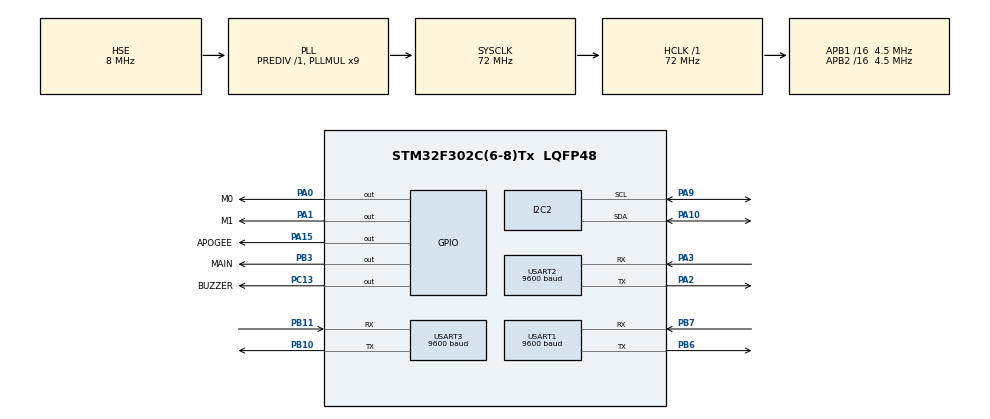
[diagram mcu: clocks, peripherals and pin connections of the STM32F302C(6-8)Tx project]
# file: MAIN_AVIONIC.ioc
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Dma.Request0=USART1_RX
Dma.USART1_RX.0.Direction=DMA_PERIPH_TO_MEMORY
Dma.USART1_RX.0.Instance=DMA1_Channel5
Dma.USART1_RX.0.MemDataAlignment=DMA_MDATAALIGN_BYTE
Dma.USART1_RX.0.MemInc=DMA_MINC_ENABLE
Dma.USART1_RX.0.Mode=DMA_CIRCULAR
Dma.USART1_RX.0.PeriphDataAlignment=DMA_PDATAALIGN_BYTE
Dma.USART1_RX.0.PeriphInc=DMA_PINC_DISABLE
Dma.USART1_RX.0.Priority=DMA_PRIORITY_LOW
Mcu.Family=STM32F3
Mcu.Name=STM32F302C(6-8)Tx
Mcu.Package=LQFP48
NVIC.DMA1_Channel5_IRQn=true\:0\:0\:false\:false\:true\:false\:true
NVIC.PriorityGroup=NVIC_PRIORITYGROUP_4
NVIC.TIM1_UP_TIM16_IRQn=true\:0\:0\:false\:false\:true\:true\:true
NVIC.TIM2_IRQn=true\:0\:0\:false\:false\:true\:true\:true
NVIC.TIM6_DAC_IRQn=true\:0\:0\:false\:false\:true\:true\:true
NVIC.USART1_IRQn=true\:0\:0\:false\:false\:true\:true\:true
PA0.GPIO_Label=M0
PA0.Signal=GPIO_Output
PA1.GPIO_Label=M1
PA1.Signal=GPIO_Output
PA10.Mode=I2C
PA10.Signal=I2C2_SDA
PA13.Mode=Serial_Wire
PA13.Signal=SYS_JTMS-SWDIO
PA14.Mode=Serial_Wire
PA14.Signal=SYS_JTCK-SWCLK
PA15.GPIO_Label=APOGEE
PA15.Signal=GPIO_Output
PA2.Mode=Asynchronous
PA2.Signal=USART2_TX
PA3.Mode=Asynchronous
PA3.Signal=USART2_RX
PA9.Mode=I2C
PA9.Signal=I2C2_SCL
PB10.Mode=Asynchronous
PB10.Signal=USART3_TX
PB11.Mode=Asynchronous
PB11.Signal=USART3_RX
PB3.GPIO_Label=MAIN
PB3.Signal=GPIO_Output
PB6.Mode=Asynchronous
PB6.Signal=USART1_TX
PB7.Mode=Asynchronous
PB7.Signal=USART1_RX
PC13.GPIO_Label=BUZZER
PC13.Signal=GPIO_Output
PF0-OSC_IN.Mode=HSE-External-Oscillator
PF0-OSC_IN.Signal=RCC_OSC_IN
PF1-OSC_OUT.Mode=HSE-External-Oscillator
PF1-OSC_OUT.Signal=RCC_OSC_OUT
ProjectManager.HeapSize=0x200
ProjectManager.StackSize=0x400
ProjectManager.TargetToolchain=STM32CubeIDE
RCC.AHBFreq_Value=72000000
RCC.APB1CLKDivider=RCC_HCLK_DIV16
RCC.APB1Freq_Value=4500000
RCC.APB1TimFreq_Value=9000000
RCC.APB2CLKDivider=RCC_HCLK_DIV16
RCC.APB2Freq_Value=4500000
RCC.APB2TimFreq_Value=9000000
RCC.CortexFreq_Value=72000000
RCC.HCLKFreq_Value=72000000
RCC.HSE_VALUE=8000000
RCC.HSI_VALUE=8000000
RCC.LSE_VALUE=32768
RCC.PLLMUL=RCC_PLL_MUL9
RCC.PLLSourceVirtual=RCC_PLLSOURCE_HSE
RCC.SYSCLKFreq_VALUE=72000000
RCC.SYSCLKSourceVirtual=RCC_SYSCLKSOURCE_PLLCLK
RCC.USBFreq_Value=72000000
TIM1.Prescaler=8999
TIM15.Prescaler=8999
TIM2.Period=999
TIM2.Prescaler=8999
TIM6.Period=6
TIM6.Prescaler=8999
USART1.BaudRate=9600
USART1.VirtualMode-Asynchronous=VM_ASYNC
USART2.BaudRate=9600
USART2.VirtualMode-Asynchronous=VM_ASYNC
USART3.BaudRate=9600
USART3.VirtualMode-Asynchronous=VM_ASYNC
VP_TIM15_VS_ClockSourceINT.Mode=Internal
VP_TIM1_VS_ClockSourceINT.Mode=Internal
VP_TIM2_VS_ClockSourceINT.Mode=Internal
VP_TIM6_VS_ClockSourceINT.Mode=Enable_Timer
board=custom

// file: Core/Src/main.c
/* USER CODE BEGIN Header */
/**
  ******************************************************************************
  * @file           : main.c
  * @brief          : Main program body
  ******************************************************************************
  * @attention
  *
  * <h2><center>&copy; Copyright (c) 2021 STMicroelectronics.
  * All rights reserved.</center></h2>
  *
  * This software component is licensed by ST under BSD 3-Clause license,
  * the "License"; You may not use this file except in compliance with the
  * License. You may obtain a copy of the License at:
  *                        opensource.org/licenses/BSD-3-Clause
  *
  ******************************************************************************
  */
/* USER CODE END Header */
#include "main.h"

/* USER CODE BEGIN Includes */
#include "BME280.h"
#include "MPU-6050.h"
#include "math.h"
#include "string.h"
#include "stdio.h"
#include <stdlib.h>
/* USER CODE END Includes */

/* USER CODE BEGIN PD */
#define t 200
#define PI 3.14159265358979323846
#define ACC_l 2.5  // kalkisi anlamak icin gerekli ivme eşigi (pozitif olmali)***

// değişebilir offset değerleri
#define gyroOffsetX -0.22
#define gyroOffsetY  1.11
#define gyroOffsetZ -5.64
#define acceOffsetX  0.38
#define acceOffsetY -1.93

float AcceX = .0, AcceY = .0, AcceZ = .0;
float GyroX = .0, GyroY = .0, GyroZ = .0;
float AcceAngleX = .0, AcceAngleY = .0, GyroAngleX = .0, GyroAngleY = .0, GyroAngleZ = .0;
float GyroBound = 3.0;
float roll = .0, pitch = .0;

float maxPositiveRoll = 0;
float maxNegativeRoll = -79.0;
float maxPositivePitch = 82.0;
float maxNegativePitch = -76.0;

uint32_t CurrentTime = 0, PreviousTime = 0;
float ElapsedTime = .0;

float calcoor(float x);
void LORA_READ_PARAMETER(void);
void LORA_CONFG(uint8_t ADDH, uint8_t ADDL, uint8_t CHN, uint8_t MODE);
void ReadGyroAcceValues(void);
void ReadAccerollpitchValues(void);

float A = 0, T, P, V;
float BM_V[6] = {0}, BM_A[6] = {0};
float MPU_ACC_Z[6] = {0}, roll, pitch, rollFilter, pitchFilter;
float lat;
float lng;

int tim1 = 0, tim2 = 0, dif = 0;
int time = 0;

uint8_t BM_S = 0;
uint8_t apogee = 0, alt_l = 0;
uint8_t MPU_FAIL = 0, MPU = 0, MPU_ACC_S = 0, BME = 0;
uint8_t GGA = 0;
uint8_t k = 0;
uint8_t v = 0;
uint8_t warning = 0;
uint8_t apg = 0;
uint8_t mn = 0;
uint8_t MPU_RP = 0;
uint8_t counter_Tel = 0;
extern uint8_t gyro;

uint8_t runningSize = 5;
float gyroArrayX[5];
float gyroArrayY[5];
float gyroArrayZ[5];
uint8_t countRunning = 1;
float totalGyroX = 0.0;
float totalGyroY = 0.0;
float totalGyroZ = 0.0;
uint8_t startRunning = 0;

uint8_t runningSizeA = 5;
float AcceArrayX[5];
float AcceArrayY[5];
float AcceArrayZ[5];
uint8_t countRunningA = 1;
float totalAcceX = 0.0;
float totalAcceY = 0.0;
float totalAcceZ = 0.0;
uint8_t startRunningA = 0;

char RX_BUF[512];
char GPGGA[75];
char LAT[9];
char LONG[10];
char TIME[10];
char COOR[60];

uint8_t RF = 0;
//uint8_t ADDH = 0x6;
//uint8_t ADDL = 0x4A;
//uint8_t CHN = 0xA;
//uint8_t MODE = 1;

//char LORA_ADRESS[3] = {0};

/*  EPHEMERISH RECEIVER CONFGURATION  */
uint8_t ADDH = 0x8;
uint8_t ADDL = 0x2A;
uint8_t CHN = 0x2;
uint8_t MODE = 1;

/*  EPHEMERISH SENDER CONFGURATION  */
uint8_t SENDER_ADDH = 0x6;
uint8_t SENDER_ADDL = 0x4A;
uint8_t SENDER_CHN = 0xA;

///*  PAYLOAD RECEIVER CONFGURATION  */
//uint8_t ADDH = 0x9;
//uint8_t ADDL = 0x3A;
//uint8_t CHN = 0x3;
//uint8_t MODE = 1;
//
//
///*  PAYLOAD SENDER CONFGURATION  */
//uint8_t SENDER_ADDH = 0x6;
//uint8_t SENDER_ADDL = 0x4A;
//uint8_t SENDER_CHN = 0xA;

/* USER CODE END PD */

I2C_HandleTypeDef hi2c2;

TIM_HandleTypeDef htim1;
TIM_HandleTypeDef htim2;
TIM_HandleTypeDef htim6;
TIM_HandleTypeDef htim15;

UART_HandleTypeDef huart1;
UART_HandleTypeDef huart2;
UART_HandleTypeDef huart3;
DMA_HandleTypeDef hdma_usart1_rx;

/* USER CODE BEGIN PV */
void HAL_UART_RxCpltCallback(UART_HandleTypeDef *huart) {
	for (uint16_t i = 0; i < 512; i++) {

		if (RX_BUF[i] == '$' && RX_BUF[i + 1] == 'G' && RX_BUF[i + 2] == 'P'
				&& RX_BUF[i + 3] == 'G' && RX_BUF[i + 4] == 'G'
				&& RX_BUF[i + 5] == 'A' && RX_BUF[i + 6] == ',') {
			for (uint8_t n = 0; n < sizeof(GPGGA); n++) {
				GPGGA[n] = RX_BUF[i + n];
				if (n > 5 && GPGGA[n - 1] == '\r' && GPGGA[n] == '\n') {
					GGA = 1;
					break;
				}
			}
			if (GGA == 1) {

				uint8_t v = 0, pos1 = 0, pos2 = 0, pos3 = 0, pos4 = 0, pos5 = 0,
						ok1 = 0, ok2 = 0, ok3 = 0, ok4 = 0;
				for (uint8_t n = 0; n < sizeof(GPGGA); n++) {
					if (GPGGA[n] == ',')
						v++;
					if (v == 1 && ok1 == 0) {
						pos1 = n;
						ok1 = 1;
					}
					if (v == 2 && ok2 == 0) {
						pos2 = n;
						for (uint8_t count = 0; count < pos2 - pos1; count++)
							TIME[count] = GPGGA[pos1 + count + 1];
						ok2 = 1;
					}
					if (v == 3 && ok3 == 0) {
						pos3 = n;
						for (uint8_t count = 0; count < pos3 - pos2; count++)
							LAT[count] = GPGGA[pos2 + count + 1];
						ok3 = 1;
					}
					if (v == 4 && ok4 == 0) {
						pos4 = n;
						ok4 = 1;
					}
					if (v == 5) {
						pos5 = n;
						for (uint8_t count2 = 0; count2 < pos5 - pos4; count2++)
							LONG[count2] = GPGGA[pos4 + count2 + 1];

						strcpy(TIME, TIME);
						strcpy(LAT, LAT);
						strcpy(LONG, LONG);
						time = atof(TIME);
						time = time % 100;
						lat = calcoor(atof(LAT));
						lng = calcoor(atof(LONG));
						/*sprintf(COOR, ":%2.7f:%2.7f\n", lat, lng);
						 HAL_UART_Transmit(&huart3, (uint8_t*) COOR,
						 sizeof(COOR), 1000);*/
						for (uint16_t c = 0; c < sizeof(RX_BUF); c++)
							RX_BUF[c] = '\0';
						for (uint16_t c = 0; c < sizeof(GPGGA); c++)
							GPGGA[c] = '\0';
						for (uint16_t c = 0; c < sizeof(LAT); c++)
							LAT[c] = '\0';
						for (uint16_t c = 0; c < sizeof(LONG); c++)
							LONG[c] = '\0';
						for (uint16_t c = 0; c < sizeof(TIME); c++)
							TIME[c] = '\0';
						break;
					}
				}
			}
		}
	}
	//HAL_UART_Receive_DMA(&huart1, (uint8_t *)RX_BUF, 512);
}
/* USER CODE END PV */

void SystemClock_Config(void);
static void MX_GPIO_Init(void);
static void MX_DMA_Init(void);
static void MX_I2C2_Init(void);
static void MX_USART1_UART_Init(void);
static void MX_USART2_UART_Init(void);
static void MX_USART3_UART_Init(void);
static void MX_TIM2_Init(void);
static void MX_TIM6_Init(void);
static void MX_TIM1_Init(void);
static void MX_TIM15_Init(void);
/* USER CODE BEGIN PFP */
//extern uint32_t SystemCoreClock;
//uint32_t Systemlock = 0;
/* USER CODE END PFP */

int main(void)
{

  /* MCU Configuration--------------------------------------------------------*/

  /* Reset of all peripherals, Initializes the Flash interface and the Systick. */
   HAL_Init();

  /* Configure the system clock */
  SystemClock_Config();

  /* Initialize all configured peripherals */
  MX_GPIO_Init();
  MX_DMA_Init();
  MX_I2C2_Init();
  MX_USART1_UART_Init();
  MX_USART2_UART_Init();
  MX_USART3_UART_Init();
  MX_TIM2_Init();
  MX_TIM6_Init();
  MX_TIM1_Init();
  MX_TIM15_Init();
  /* USER CODE BEGIN 2 */
	/*HAL_GPIO_WritePin(GPIOA, GPIO_PIN_0, SET);
	HAL_GPIO_WritePin(GPIOA, GPIO_PIN_1, SET);*/
	LORA_READ_PARAMETER();  // don't make commit all of these two functions
	LORA_CONFG(0x6, 0x4A, 0xA, 1);   // HIGH ADDRESS, LOW ADDRESS, CHANNEL, MODE (0 : TRANSPARENT, 1 : FIXED)

	BME280_Init();
	MPU6050_Init();

	enum device {
		Ephemerish, Payload
	} dev_ID;
	dev_ID = Ephemerish;
	//dev_ID = Payload;

	enum rocket {
		Rail, Launch, Burnout, Apogee, Descent, Main, Recovery
	};
	enum rocket EPHEMERISH;

	for (uint8_t i = 0; i < 12; i++) {
		HAL_GPIO_TogglePin(GPIOC, GPIO_PIN_13);
		HAL_Delay(50);
	}
	HAL_TIM_Base_Start_IT(&htim2);
	if (MPU_FAIL == 0) {
		EPHEMERISH = Rail;
		//EPHEMERISH = Apogee;
		HAL_TIM_Base_Start_IT(&htim6);
	} else if (MPU_FAIL == 1) {
		EPHEMERISH = Launch;

	}
	HAL_TIM_Base_Start(&htim15);
	HAL_TIM_Base_Start(&htim1);
	HAL_TIM_Base_Start_IT(&htim2);
	//  *************
	__HAL_UART_ENABLE_IT(&huart1, UART_IT_IDLE);
	HAL_UART_Receive_DMA(&huart1, (uint8_t *)RX_BUF, 512);
	//  ************
  /* USER CODE END 2 */

  /* Infinite loop */
  while (1)
  {

		/* USER CODE BEGIN 3 */

//		tim1 = __HAL_TIM_GET_COUNTER(&htim1);
//		BM_A[0] = BME280_ALT_MEDIANFILTER();
//		tim2 = __HAL_TIM_GET_COUNTER(&htim1);
//		if (tim2 < tim1) {
//			tim2 = tim2 + 65535;
//			dif = tim2 - tim1;
//		} else
//			dif = tim2 - tim1;

		if (EPHEMERISH != Rail) {
			ReadAccerollpitchValues();
		}

		switch (EPHEMERISH) {
		case Rail:
			if (MPU == 1) {
				MPU_ACC_Z[MPU_ACC_S] = MEDIAN_AXIS_FILTER('A', 'Z');
				if (MPU_ACC_S == 5) {
					uint8_t C1 = 0;
					for (uint8_t i = 0; i <= MPU_ACC_S; i++) {
						if (MPU_ACC_Z[i] < (-1 * ACC_l) || MPU_ACC_Z[i] > ACC_l)
							C1++;
					}
					if (C1 >= 3) {
						EPHEMERISH = Launch;
						//EPHEMERISH = Apogee;
						for (uint8_t i = 0; i < (EPHEMERISH * 2); i++) {
							HAL_GPIO_TogglePin(GPIOC, GPIO_PIN_13);
							HAL_Delay(50);
						}
						HAL_TIM_Base_Start(&htim1);
					}
					MPU_ACC_S = 0;
				}
				MPU_ACC_S++;
				MPU = 0;
			}
			break;
		case Launch:
			if (BME == 1) {
				if (alt_l == 0) {
					tim1 = __HAL_TIM_GET_COUNTER(&htim1);
					BM_A[0] = BME280_ALT_MEDIANFILTER();
					alt_l = 1;
				} else if (alt_l == 1) {
					tim2 = __HAL_TIM_GET_COUNTER(&htim1);
					BM_A[1] = BME280_ALT_MEDIANFILTER();
					if (tim2 < tim1) {
						tim2 = tim2 + 65535;
						dif = tim2 - tim1;
					} else
						dif = tim2 - tim1;
					BM_V[BM_S] = (BM_A[1] - BM_A[0]) / (0.001 * dif);
					if (BM_S == 5) {
						uint8_t M = 0;
						for (uint8_t i = 0; i <= BM_S; i++) {
							if (BM_V[i] > 35) // TEST BURNOUT VALUE = 15 READ BURNOUT VALUE = 100
								M++;
						}
						if (M >= 4) {
							//**********************
							EPHEMERISH = Burnout;

							for (uint8_t i = 0; i < (EPHEMERISH * 2); i++) {
								HAL_GPIO_TogglePin(GPIOA, GPIO_PIN_3);
								HAL_Delay(50);
							}
						}
						for (uint8_t k = 0; k <= 5; k++)
							BM_V[k] = 0;
						BM_S = 0;
					}
					BM_S++;
					alt_l = 0;
				}
				BME = 0;
			}
			break;
		case Burnout:
			if (BME == 1) {
				if (alt_l == 0) {
					tim1 = __HAL_TIM_GET_COUNTER(&htim1);
					BM_A[0] = BME280_ALT_MEDIANFILTER();
					alt_l = 1;
				} else if (alt_l == 1) {
					tim2 = __HAL_TIM_GET_COUNTER(&htim1);
					BM_A[1] = BME280_ALT_MEDIANFILTER();
					if (tim2 < tim1) {
						tim2 = tim2 + 65535;
						dif = tim2 - tim1;
					} else
						dif = tim2 - tim1;
					BM_V[BM_S] = (BM_A[1] - BM_A[0]) / (0.001 * dif);
					if (BM_S == 5) {
						uint8_t M = 0;
						for (uint8_t i = 0; i <= BM_S; i++) {
							if (BM_V[i] < 5)    //  if (BM_V[i] < 20)
								M++;
						}
						if (M >= 4) {
							EPHEMERISH = Apogee;
							HAL_TIM_Base_Stop_IT(&htim2);
							tim1 = __HAL_TIM_GET_COUNTER(&htim1);
							for (uint8_t i = 0; i < (EPHEMERISH * 2); i++) {
								HAL_GPIO_TogglePin(GPIOC, GPIO_PIN_13);
								HAL_Delay(50);
							}
						}
						for (uint8_t k = 0; k <= 5; k++)
							BM_V[k] = 0;
						BM_S = 0;
					}
					BM_S++;
					alt_l = 0;
				}
				BME = 0;
			}
			break;
		case Apogee:
			//EPHEMERISH = Recovery;
			/******  GYRO ALGORITHM  ******/
			tim2 = __HAL_TIM_GET_COUNTER(&htim1);
			if (tim2 < tim1) {
				tim2 = tim2 + 65535;
				dif = tim2 - tim1;
			} else
				dif = tim2 - tim1;
			ReadGyroAcceValues();

			if (abs(roll) > 40 || abs(pitch) > 40 || dif > 2000) {  // ****************
				EPHEMERISH = Descent;
				for (uint8_t i = 0; i < (EPHEMERISH * 2); i++) {
					HAL_GPIO_TogglePin(GPIOC, GPIO_PIN_13);
					HAL_Delay(50);
				}
				HAL_GPIO_TogglePin(GPIOC, GPIO_PIN_13);
				HAL_GPIO_WritePin(GPIOA, GPIO_PIN_15, SET);
				HAL_Delay(600);
				HAL_GPIO_WritePin(GPIOA, GPIO_PIN_15, RESET);
				HAL_GPIO_TogglePin(GPIOC, GPIO_PIN_13);
				apg = 1;
				HAL_TIM_Base_Start_IT(&htim2);
			}
			break;
		case Descent:
			if (BME == 1) {

				if (alt_l == 0) {
					tim1 = __HAL_TIM_GET_COUNTER(&htim1);
					BM_A[0] = BME280_ALT_MEDIANFILTER();
					alt_l = 1;
				} else if (alt_l == 1) {
					tim2 = __HAL_TIM_GET_COUNTER(&htim1);
					BM_A[1] = BME280_ALT_MEDIANFILTER();
					if (tim2 < tim1) {
						tim2 = tim2 + 65535;
						dif = tim2 - tim1;
					} else
						dif = tim2 - tim1;
					BM_V[BM_S] = (BM_A[1] - BM_A[0]) / (0.001 * dif);
					alt_l = 0;  //**************
				}

				BM_A[BM_S] = BME280_ALT_MEDIANFILTER();
				if (BM_S == 5) {
					uint8_t M = 0;
					for (uint8_t i = 0; i <= BM_S; i++) {
						if (BM_A[i] < 500)
							M++;
					}
					if (M >= 3) {
						// MAIN FIRE
						EPHEMERISH = Main;
						for (uint8_t i = 0; i < (EPHEMERISH * 2); i++) {
							HAL_GPIO_TogglePin(GPIOC, GPIO_PIN_13);
							HAL_Delay(50);
						}
					}
					for (uint8_t k = 0; k <= 5; k++)
						BM_A[k] = 0;
					BM_S = 0;
				}
				BM_S++;
				BME = 0;
			}
			break;
		case Main:
			EPHEMERISH = Recovery;
			for (uint8_t i = 0; i < (EPHEMERISH * 2); i++) {
				HAL_GPIO_TogglePin(GPIOC, GPIO_PIN_13);
				HAL_Delay(50);
			}
			HAL_GPIO_WritePin(GPIOC, GPIO_PIN_13, SET);
			HAL_GPIO_WritePin(GPIOB, GPIO_PIN_3, SET);
			HAL_Delay(600);
			HAL_GPIO_WritePin(GPIOB, GPIO_PIN_3, RESET);
			HAL_GPIO_WritePin(GPIOC, GPIO_PIN_13, RESET);
			mn = 1;
			break;
		case Recovery:
			if (BME == 1) {
				if (alt_l == 0) {
					tim1 = __HAL_TIM_GET_COUNTER(&htim1);
					BM_A[0] = BME280_ALT_MEDIANFILTER();
					alt_l = 1;
				} else if (alt_l == 1) {
					tim2 = __HAL_TIM_GET_COUNTER(&htim1);
					BM_A[1] = BME280_ALT_MEDIANFILTER();
					if (tim2 < tim1) {
						tim2 = tim2 + 65535;
						dif = tim2 - tim1;
					} else
						dif = tim2 - tim1;
					BM_V[BM_S] = (BM_A[1] - BM_A[0]) / (0.001 * dif);
					alt_l = 0;  //**************
					BM_S++;
					if (BM_S == 5)
						BM_S = 0;
				}
			}
			if (warning == 1) {
				HAL_GPIO_TogglePin(GPIOC, GPIO_PIN_13);
				HAL_Delay(50);
				HAL_GPIO_TogglePin(GPIOC, GPIO_PIN_13);
				warning = 0;
			}
			break;
		}
		if (RF == 1 && ((time % 6) == 0 || (time % 6) == 1))  	// EPHEMERISH
		//if(RF == 1 && ((time % 6) == 3 || (time % 6) == 4))	// PAYLOAD
				{
//			LORA_ADRESS[0] = SENDER_ADDH;
//			LORA_ADRESS[1] = SENDER_ADDL;
//			LORA_ADRESS[2] = SENDER_CHN;
//
//			sprintf(LORA_ADRESS, "%s", LORA_ADRESS);

			if (EPHEMERISH == Rail && counter_Tel < 10) {
				COOR[0] = SENDER_ADDH;
				COOR[1] = SENDER_ADDL;
				COOR[2] = SENDER_CHN;

				sprintf(COOR, "%s%d:%d:%2.7f:%2.7f:%.2f:%.2f:%.2f,%.2f:%d:%d\n",
						COOR, dev_ID, time, lat, lng, BM_A[1], BM_V[2], roll,
						pitch, apg, mn);

//				sprintf(COOR, "%s%d:%d:%2.7f:%2.7f:%.2f:%.2f:%.2f,%.2f:%d:%d\n",
//						LORA_ADRESS, dev_ID, time, lat, lng, BM_A[1], BM_V[2], roll,
//						pitch, apg, mn);
				HAL_UART_Transmit(&huart2, (uint8_t*) COOR, sizeof(COOR), 1000);
				for (uint16_t X = 0; X < sizeof(COOR); X++) {
					COOR[X] = '\0';
				}
				counter_Tel++;
			} else if (EPHEMERISH != Rail) {
				COOR[0] = SENDER_ADDH;
				COOR[1] = SENDER_ADDL;
				COOR[2] = SENDER_CHN;
				sprintf(COOR, "%s%d:%d:%2.7f:%2.7f:%.2f:%.2f:%.2f,%.2f:%d:%d\n",
						COOR, dev_ID, time, lat, lng, BM_A[1], BM_V[2],
						AcceAngleX, AcceAngleY, apg, mn);

//				sprintf(COOR, "%s%d:%d:%2.7f:%2.7f:%.2f:%.2f:%.2f,%.2f:%d:%d\n",
//						LORA_ADRESS, dev_ID, time, lat, lng, BM_A[1], BM_V[2],
//						roll, pitch, apg, mn);
				HAL_UART_Transmit(&huart2, (uint8_t*) COOR, sizeof(COOR), 1000);
				for (uint16_t X = 0; X < sizeof(COOR); X++) {
					COOR[X] = '\0';
				}
			}
			lat = .0;
			lng = .0;
			RF = 0;
		}
	}

  /* USER CODE END 3 */
}

void SystemClock_Config(void)
{
  RCC_OscInitTypeDef RCC_OscInitStruct = {0};
  RCC_ClkInitTypeDef RCC_ClkInitStruct = {0};
  RCC_PeriphCLKInitTypeDef PeriphClkInit = {0};

  /** Initializes the RCC Oscillators according to the specified parameters
  * in the RCC_OscInitTypeDef structure.
  */
  RCC_OscInitStruct.OscillatorType = RCC_OSCILLATORTYPE_HSI|RCC_OSCILLATORTYPE_HSE;
  RCC_OscInitStruct.HSEState = RCC_HSE_ON;
  RCC_OscInitStruct.HSEPredivValue = RCC_HSE_PREDIV_DIV1;
  RCC_OscInitStruct.HSIState = RCC_HSI_ON;
  RCC_OscInitStruct.HSICalibrationValue = RCC_HSICALIBRATION_DEFAULT;
  RCC_OscInitStruct.PLL.PLLState = RCC_PLL_ON;
  RCC_OscInitStruct.PLL.PLLSource = RCC_PLLSOURCE_HSE;
  RCC_OscInitStruct.PLL.PLLMUL = RCC_PLL_MUL9;
  if (HAL_RCC_OscConfig(&RCC_OscInitStruct) != HAL_OK)
  {
    Error_Handler();
  }
  /** Initializes the CPU, AHB and APB buses clocks
  */
  RCC_ClkInitStruct.ClockType = RCC_CLOCKTYPE_HCLK|RCC_CLOCKTYPE_SYSCLK
                              |RCC_CLOCKTYPE_PCLK1|RCC_CLOCKTYPE_PCLK2;
  RCC_ClkInitStruct.SYSCLKSource = RCC_SYSCLKSOURCE_PLLCLK;
  RCC_ClkInitStruct.AHBCLKDivider = RCC_SYSCLK_DIV1;
  RCC_ClkInitStruct.APB1CLKDivider = RCC_HCLK_DIV16;
  RCC_ClkInitStruct.APB2CLKDivider = RCC_HCLK_DIV16;

  if (HAL_RCC_ClockConfig(&RCC_ClkInitStruct, FLASH_LATENCY_2) != HAL_OK)
  {
    Error_Handler();
  }
  PeriphClkInit.PeriphClockSelection = RCC_PERIPHCLK_USART1|RCC_PERIPHCLK_I2C2
                              |RCC_PERIPHCLK_TIM1|RCC_PERIPHCLK_TIM15;
  PeriphClkInit.Usart1ClockSelection = RCC_USART1CLKSOURCE_PCLK1;
  PeriphClkInit.I2c2ClockSelection = RCC_I2C2CLKSOURCE_HSI;
  PeriphClkInit.Tim1ClockSelection = RCC_TIM1CLK_HCLK;
  PeriphClkInit.Tim15ClockSelection = RCC_TIM15CLK_HCLK;
  if (HAL_RCCEx_PeriphCLKConfig(&PeriphClkInit) != HAL_OK)
  {
    Error_Handler();
  }
}

static void MX_I2C2_Init(void)
{

  hi2c2.Instance = I2C2;
  hi2c2.Init.Timing = 0x2000090E;
  hi2c2.Init.OwnAddress1 = 0;
  hi2c2.Init.AddressingMode = I2C_ADDRESSINGMODE_7BIT;
  hi2c2.Init.DualAddressMode = I2C_DUALADDRESS_DISABLE;
  hi2c2.Init.OwnAddress2 = 0;
  hi2c2.Init.OwnAddress2Masks = I2C_OA2_NOMASK;
  hi2c2.Init.GeneralCallMode = I2C_GENERALCALL_DISABLE;
  hi2c2.Init.NoStretchMode = I2C_NOSTRETCH_DISABLE;
  if (HAL_I2C_Init(&hi2c2) != HAL_OK)
  {
    Error_Handler();
  }
  /** Configure Analogue filter
  */
  if (HAL_I2CEx_ConfigAnalogFilter(&hi2c2, I2C_ANALOGFILTER_ENABLE) != HAL_OK)
  {
    Error_Handler();
  }
  /** Configure Digital filter
  */
  if (HAL_I2CEx_ConfigDigitalFilter(&hi2c2, 0) != HAL_OK)
  {
    Error_Handler();
  }

}

static void MX_TIM1_Init(void)
{

  TIM_ClockConfigTypeDef sClockSourceConfig = {0};
  TIM_MasterConfigTypeDef sMasterConfig = {0};

  htim1.Instance = TIM1;
  htim1.Init.Prescaler = 8999;
  htim1.Init.CounterMode = TIM_COUNTERMODE_UP;
  htim1.Init.Period = 65535;
  htim1.Init.ClockDivision = TIM_CLOCKDIVISION_DIV1;
  htim1.Init.RepetitionCounter = 0;
  htim1.Init.AutoReloadPreload = TIM_AUTORELOAD_PRELOAD_DISABLE;
  if (HAL_TIM_Base_Init(&htim1) != HAL_OK)
  {
    Error_Handler();
  }
  sClockSourceConfig.ClockSource = TIM_CLOCKSOURCE_INTERNAL;
  if (HAL_TIM_ConfigClockSource(&htim1, &sClockSourceConfig) != HAL_OK)
  {
    Error_Handler();
  }
  sMasterConfig.MasterOutputTrigger = TIM_TRGO_RESET;
  sMasterConfig.MasterOutputTrigger2 = TIM_TRGO2_RESET;
  sMasterConfig.MasterSlaveMode = TIM_MASTERSLAVEMODE_DISABLE;
  if (HAL_TIMEx_MasterConfigSynchronization(&htim1, &sMasterConfig) != HAL_OK)
  {
    Error_Handler();
  }

}

static void MX_TIM2_Init(void)
{

  TIM_ClockConfigTypeDef sClockSourceConfig = {0};
  TIM_MasterConfigTypeDef sMasterConfig = {0};

  htim2.Instance = TIM2;
  htim2.Init.Prescaler = 8999;
  htim2.Init.CounterMode = TIM_COUNTERMODE_UP;
  htim2.Init.Period = 999;
  htim2.Init.ClockDivision = TIM_CLOCKDIVISION_DIV1;
  htim2.Init.AutoReloadPreload = TIM_AUTORELOAD_PRELOAD_DISABLE;
  if (HAL_TIM_Base_Init(&htim2) != HAL_OK)
  {
    Error_Handler();
  }
  sClockSourceConfig.ClockSource = TIM_CLOCKSOURCE_INTERNAL;
  if (HAL_TIM_ConfigClockSource(&htim2, &sClockSourceConfig) != HAL_OK)
  {
    Error_Handler();
  }
  sMasterConfig.MasterOutputTrigger = TIM_TRGO_RESET;
  sMasterConfig.MasterSlaveMode = TIM_MASTERSLAVEMODE_DISABLE;
  if (HAL_TIMEx_MasterConfigSynchronization(&htim2, &sMasterConfig) != HAL_OK)
  {
    Error_Handler();
  }

}

static void MX_TIM6_Init(void)
{

  TIM_MasterConfigTypeDef sMasterConfig = {0};

  htim6.Instance = TIM6;
  htim6.Init.Prescaler = 8999;
  htim6.Init.CounterMode = TIM_COUNTERMODE_UP;
  htim6.Init.Period = 6;
  htim6.Init.AutoReloadPreload = TIM_AUTORELOAD_PRELOAD_DISABLE;
  if (HAL_TIM_Base_Init(&htim6) != HAL_OK)
  {
    Error_Handler();
  }
  sMasterConfig.MasterOutputTrigger = TIM_TRGO_RESET;
  sMasterConfig.MasterSlaveMode = TIM_MASTERSLAVEMODE_DISABLE;
  if (HAL_TIMEx_MasterConfigSynchronization(&htim6, &sMasterConfig) != HAL_OK)
  {
    Error_Handler();
  }

}

static void MX_TIM15_Init(void)
{

  TIM_ClockConfigTypeDef sClockSourceConfig = {0};
  TIM_MasterConfigTypeDef sMasterConfig = {0};

  htim15.Instance = TIM15;
  htim15.Init.Prescaler = 8999;
  htim15.Init.CounterMode = TIM_COUNTERMODE_UP;
  htim15.Init.Period = 65535;
  htim15.Init.ClockDivision = TIM_CLOCKDIVISION_DIV1;
  htim15.Init.RepetitionCounter = 0;
  htim15.Init.AutoReloadPreload = TIM_AUTORELOAD_PRELOAD_DISABLE;
  if (HAL_TIM_Base_Init(&htim15) != HAL_OK)
  {
    Error_Handler();
  }
  sClockSourceConfig.ClockSource = TIM_CLOCKSOURCE_INTERNAL;
  if (HAL_TIM_ConfigClockSource(&htim15, &sClockSourceConfig) != HAL_OK)
  {
    Error_Handler();
  }
  sMasterConfig.MasterOutputTrigger = TIM_TRGO_RESET;
  sMasterConfig.MasterSlaveMode = TIM_MASTERSLAVEMODE_DISABLE;
  if (HAL_TIMEx_MasterConfigSynchronization(&htim15, &sMasterConfig) != HAL_OK)
  {
    Error_Handler();
  }

}

static void MX_USART1_UART_Init(void)
{

  huart1.Instance = USART1;
  huart1.Init.BaudRate = 9600;
  huart1.Init.WordLength = UART_WORDLENGTH_8B;
  huart1.Init.StopBits = UART_STOPBITS_1;
  huart1.Init.Parity = UART_PARITY_NONE;
  huart1.Init.Mode = UART_MODE_TX_RX;
  huart1.Init.HwFlowCtl = UART_HWCONTROL_NONE;
  huart1.Init.OverSampling = UART_OVERSAMPLING_16;
  huart1.Init.OneBitSampling = UART_ONE_BIT_SAMPLE_DISABLE;
  huart1.AdvancedInit.AdvFeatureInit = UART_ADVFEATURE_NO_INIT;
  if (HAL_UART_Init(&huart1) != HAL_OK)
  {
    Error_Handler();
  }

}

static void MX_USART2_UART_Init(void)
{

  huart2.Instance = USART2;
  huart2.Init.BaudRate = 9600;
  huart2.Init.WordLength = UART_WORDLENGTH_8B;
  huart2.Init.StopBits = UART_STOPBITS_1;
  huart2.Init.Parity = UART_PARITY_NONE;
  huart2.Init.Mode = UART_MODE_TX_RX;
  huart2.Init.HwFlowCtl = UART_HWCONTROL_NONE;
  huart2.Init.OverSampling = UART_OVERSAMPLING_16;
  huart2.Init.OneBitSampling = UART_ONE_BIT_SAMPLE_DISABLE;
  huart2.AdvancedInit.AdvFeatureInit = UART_ADVFEATURE_NO_INIT;
  if (HAL_UART_Init(&huart2) != HAL_OK)
  {
    Error_Handler();
  }

}

static void MX_USART3_UART_Init(void)
{

  huart3.Instance = USART3;
  huart3.Init.BaudRate = 9600;
  huart3.Init.WordLength = UART_WORDLENGTH_8B;
  huart3.Init.StopBits = UART_STOPBITS_1;
  huart3.Init.Parity = UART_PARITY_NONE;
  huart3.Init.Mode = UART_MODE_TX_RX;
  huart3.Init.HwFlowCtl = UART_HWCONTROL_NONE;
  huart3.Init.OverSampling = UART_OVERSAMPLING_16;
  huart3.Init.OneBitSampling = UART_ONE_BIT_SAMPLE_DISABLE;
  huart3.AdvancedInit.AdvFeatureInit = UART_ADVFEATURE_NO_INIT;
  if (HAL_UART_Init(&huart3) != HAL_OK)
  {
    Error_Handler();
  }

}

static void MX_DMA_Init(void)
{

  /* DMA controller clock enable */
  __HAL_RCC_DMA1_CLK_ENABLE();

  /* DMA interrupt init */
  /* DMA1_Channel5_IRQn interrupt configuration */
  HAL_NVIC_SetPriority(DMA1_Channel5_IRQn, 0, 0);
  HAL_NVIC_EnableIRQ(DMA1_Channel5_IRQn);

}

static void MX_GPIO_Init(void)
{
  GPIO_InitTypeDef GPIO_InitStruct = {0};

  /* GPIO Ports Clock Enable */
  __HAL_RCC_GPIOC_CLK_ENABLE();
  __HAL_RCC_GPIOF_CLK_ENABLE();
  __HAL_RCC_GPIOA_CLK_ENABLE();
  __HAL_RCC_GPIOB_CLK_ENABLE();

  /*Configure GPIO pin Output Level */
  HAL_GPIO_WritePin(BUZZER_GPIO_Port, BUZZER_Pin, GPIO_PIN_RESET);

  /*Configure GPIO pin Output Level */
  HAL_GPIO_WritePin(GPIOA, M0_Pin|M1_Pin|APOGEE_Pin, GPIO_PIN_RESET);

  /*Configure GPIO pin Output Level */
  HAL_GPIO_WritePin(MAIN_GPIO_Port, MAIN_Pin, GPIO_PIN_RESET);

  /*Configure GPIO pin : BUZZER_Pin */
  GPIO_InitStruct.Pin = BUZZER_Pin;
  GPIO_InitStruct.Mode = GPIO_MODE_OUTPUT_PP;
  GPIO_InitStruct.Pull = GPIO_NOPULL;
  GPIO_InitStruct.Speed = GPIO_SPEED_FREQ_LOW;
  HAL_GPIO_Init(BUZZER_GPIO_Port, &GPIO_InitStruct);

  /*Configure GPIO pins : M0_Pin M1_Pin APOGEE_Pin */
  GPIO_InitStruct.Pin = M0_Pin|M1_Pin|APOGEE_Pin;
  GPIO_InitStruct.Mode = GPIO_MODE_OUTPUT_PP;
  GPIO_InitStruct.Pull = GPIO_NOPULL;
  GPIO_InitStruct.Speed = GPIO_SPEED_FREQ_LOW;
  HAL_GPIO_Init(GPIOA, &GPIO_InitStruct);

  /*Configure GPIO pin : MAIN_Pin */
  GPIO_InitStruct.Pin = MAIN_Pin;
  GPIO_InitStruct.Mode = GPIO_MODE_OUTPUT_PP;
  GPIO_InitStruct.Pull = GPIO_NOPULL;
  GPIO_InitStruct.Speed = GPIO_SPEED_FREQ_LOW;
  HAL_GPIO_Init(MAIN_GPIO_Port, &GPIO_InitStruct);

}

/* USER CODE BEGIN 4 */
void LORA_CONFG(uint8_t ADDH, uint8_t ADDL, uint8_t CHN, uint8_t MODE)
{
	HAL_GPIO_WritePin(GPIOA, GPIO_PIN_0, SET);
	HAL_GPIO_WritePin(GPIOA, GPIO_PIN_1, SET);
	HAL_Delay(50);

	char cfg_buff[6] = {0};
	enum lora{Transparent, Fixed} mode;
	mode = MODE;

	cfg_buff[0] = 0xC0;  // header for saving paramater when power down C0
	cfg_buff[1] = ADDH;  // high address
	cfg_buff[2] = ADDL;  // low address
	cfg_buff[3] = 0x19;  // SPED (parity, baud, data rate)  1.2 kbps air data rate
	cfg_buff[4] = CHN;   // channel

	switch(mode){
	case Transparent:
		cfg_buff[5] = 0x44;  // option
		break;
	case Fixed:
		cfg_buff[5] = 0xC4;  // option
		break;
	default:
		cfg_buff[5] = 0x44;  // option
	}

	HAL_UART_Transmit(&huart2, (uint8_t*) cfg_buff, 6, 1000);

	HAL_Delay(25);
	HAL_GPIO_WritePin(GPIOA, GPIO_PIN_0, RESET);
	HAL_GPIO_WritePin(GPIOA, GPIO_PIN_1, RESET);
	HAL_Delay(25);
}

void LORA_READ_PARAMETER()
{
	HAL_GPIO_WritePin(GPIOA, GPIO_PIN_0, SET);
	HAL_GPIO_WritePin(GPIOA, GPIO_PIN_1, SET);
	HAL_Delay(50);

	char buff_read[6] = {0};
	buff_read[0] = 0xC1;
	buff_read[1] = 0xC1;
	buff_read[2] = 0xC1;

	HAL_UART_Transmit(&huart2, (uint8_t*) buff_read, 3, 1000);
	HAL_UART_Receive(&huart2, (uint8_t*) buff_read, 6, 1000);

	HAL_Delay(25);
	HAL_GPIO_WritePin(GPIOA, GPIO_PIN_0, RESET);
	HAL_GPIO_WritePin(GPIOA, GPIO_PIN_1, RESET);
	HAL_Delay(25);
}

float calcoor(float x)
{
	float a = (int)x / 100;
	float b = (x - (a * 100.0)) / 60.0;
	return a+b;
}

void ReadGyroAcceValues() {

	PreviousTime = CurrentTime;
	CurrentTime = __HAL_TIM_GET_COUNTER(&htim15);
	if (CurrentTime < PreviousTime)
		CurrentTime += 65535;
	ElapsedTime = (float) (CurrentTime - PreviousTime) / 1000.0;

	AcceX = MPU6050_AccX();
	AcceY = MPU6050_AccY();
	AcceZ = MPU6050_AccZ();

	AcceAngleX = ((atan((AcceY) / sqrt(pow((AcceX), 2) + pow((AcceZ), 2))) * 180
			/ PI)) - acceOffsetX;
	AcceAngleY = ((atan(-1 * (AcceX) / sqrt(pow((AcceY), 2) + pow((AcceZ), 2)))
			* 180 / PI)) - acceOffsetY;

	GyroX = MPU6050_GyroX();
	GyroY = MPU6050_GyroY();
	GyroZ = MPU6050_GyroZ();

	// handle gyro errors
	GyroX = GyroX - gyroOffsetX;
	GyroY = GyroY - gyroOffsetY;
	GyroZ = GyroZ - gyroOffsetZ;

	if (abs(GyroX) < GyroBound) {
		GyroX = 0;
	}
	if (abs(GyroY) < GyroBound) {
		GyroY = 0;
	}
	if (abs(GyroZ) < GyroBound + 3) {
		GyroZ = 0;
	}

	if (countRunning >= runningSize && startRunning == 0) {
		startRunning = 1;
	}

	totalGyroX += (-gyroArrayX[countRunning - 1] + GyroX);
	totalGyroY += (-gyroArrayY[countRunning - 1] + GyroY);
	totalGyroZ += (-gyroArrayZ[countRunning - 1] + GyroZ);
	gyroArrayX[countRunning - 1] = GyroX;
	gyroArrayY[countRunning - 1] = GyroY;
	gyroArrayZ[countRunning - 1] = GyroZ;

	// take average
	if (startRunning) {
		GyroX = (totalGyroX / (float) runningSize);
		GyroY = (totalGyroY / (float) runningSize);
		GyroZ = (totalGyroZ / (float) runningSize);
	}

	countRunning++;
	if (countRunning >= (runningSize + 1)) {
		countRunning = 1;
	}

	GyroAngleX += (GyroX * ElapsedTime);
	GyroAngleY += (GyroY * ElapsedTime);

//	if (gyro == 1) {
//		GyroAngleX = AcceAngleX;
//		GyroAngleY = AcceAngleY;
//		gyro = 0;
//	}

	roll = 0.90 * GyroAngleX + 0.10 * AcceAngleX;
	pitch = 0.90 * GyroAngleY + 0.10 * AcceAngleY;

	MPU_RP = 0;

}

void ReadAccerollpitchValues(void) {

//	PreviousTime = CurrentTime;
//	CurrentTime = __HAL_TIM_GET_COUNTER(&htim15);
//	if (CurrentTime < PreviousTime)
//		CurrentTime += 65535;
//	ElapsedTime = (float) (CurrentTime - PreviousTime) / 1000.0;

	AcceX = MPU6050_AccX();
	AcceY = MPU6050_AccY();
	AcceZ = MPU6050_AccZ();

	if (countRunningA >= runningSizeA && startRunningA == 0) {
		startRunningA = 1;
	}

	totalAcceX += (-AcceArrayX[countRunningA - 1] + AcceX);
	totalAcceY += (-AcceArrayY[countRunningA - 1] + AcceY);
	totalAcceZ += (-AcceArrayZ[countRunningA - 1] + AcceZ);
	AcceArrayX[countRunningA - 1] = AcceX;
	AcceArrayY[countRunningA - 1] = AcceY;
	AcceArrayZ[countRunningA - 1] = AcceZ;

	// take average
	if (startRunning) {
		AcceX = (totalAcceX / (float) runningSizeA);
		AcceY = (totalAcceY / (float) runningSizeA);
		AcceZ = (totalAcceZ / (float) runningSizeA);
	}

	countRunningA++;
	if (countRunningA >= (runningSizeA + 1)) {
		countRunningA = 1;
	}

	AcceAngleX = ((atan((AcceY) / sqrt(pow((AcceX), 2) + pow((AcceZ), 2))) * 180
			/ PI)) - acceOffsetX;
	AcceAngleY = ((atan(-1 * (AcceX) / sqrt(pow((AcceY), 2) + pow((AcceZ), 2)))
			* 180 / PI)) - acceOffsetY;

//	GyroX = MPU6050_GyroX();
//	GyroY = MPU6050_GyroY();
//	GyroZ = MPU6050_GyroZ();
//
//	// handle gyro errors
//	GyroX = GyroX - gyroOffsetX;
//	GyroY = GyroY - gyroOffsetY;
//	GyroZ = GyroZ - gyroOffsetZ;

//	if (abs(GyroX) < GyroBound) {
//		GyroX = 0;
//	}
//	if (abs(GyroY) < GyroBound) {
//		GyroY = 0;
//	}
//	if (abs(GyroZ) < GyroBound + 3) {
//		GyroZ = 0;
//	}

//
//	GyroAngleX += (GyroX * ElapsedTime);
//	GyroAngleY += (GyroY * ElapsedTime);

//	if (gyro == 1) {
//		GyroAngleX = AcceAngleX;
//		GyroAngleY = AcceAngleY;
//		gyro = 0;
//	}

//	roll = 0.90 * GyroAngleX + 0.10 * AcceAngleX;
//	pitch = 0.90 * GyroAngleY + 0.10 * AcceAngleY;

	MPU_RP = 0;

}
/* USER CODE END 4 */

void Error_Handler(void)
{
}

/************************ (C) COPYRIGHT STMicroelectronics *****END OF FILE****/
